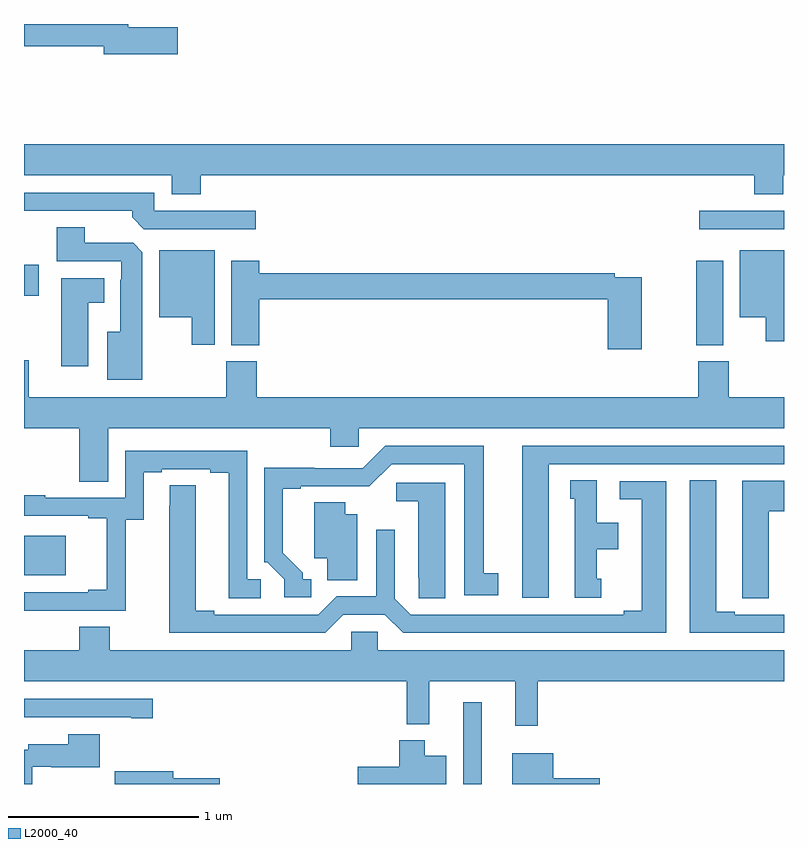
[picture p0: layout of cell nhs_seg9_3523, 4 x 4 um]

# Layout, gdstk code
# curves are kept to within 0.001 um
import gdstk
lib = gdstk.Library(unit=1e-6, precision=1e-09)
def R(c, l, rs):  # rectangles x0, y0, x1, y1
    for r in rs: c.add(gdstk.rectangle(r[:2], r[2:], *l))
def P(c, l, *ps):  # polygons
    for p in ps: c.add(gdstk.Polygon(p, *l))
L2000_40 = (2000, 40)

nhs_seg9_3523 = lib.new_cell('nhs_seg9_3523')
R(nhs_seg9_3523, L2000_40, [(313.311,1242.5,313.408,1242.931), (311,1243.598,311.221,1243.807), (314.539,1244.809,314.68,1245.253), (311,1245.07,311.077,1245.232), (314.553,1245.42,315,1245.516)])
P(nhs_seg9_3523, L2000_40, [(311.809,1246.484),(311.548,1246.484),(311.548,1246.5),(311,1246.5),(311,1246.384),(311.42,1246.384),(311.42,1246.342),(311.809,1246.342)],
  [(311.93,1245.704),(314.843,1245.704),(314.843,1245.605),(314.995,1245.605),(314.995,1245.704),(315,1245.704),(315,1245.868),(311,1245.868),(311,1245.704),(311.777,1245.704),(311.777,1245.605),(311.93,1245.605)],
  [(312.22,1245.516),(311.685,1245.516),(311.685,1245.612),(311,1245.612),(311,1245.516),(311.57,1245.516),(311.57,1245.482),(311.631,1245.42),(312.22,1245.42)],
  [(311.623,1245.299),(311.574,1245.348),(311.32,1245.348),(311.32,1245.431),(311.173,1245.431),(311.173,1245.252),(311.511,1245.252),(311.511,1245.155),(311.507,1245.155),(311.507,1244.881),(311.438,1244.881),(311.438,1244.627),(311.623,1244.627)],
  [(312.004,1245.31),(311.711,1245.31),(311.711,1244.957),(311.882,1244.957),(311.882,1244.811),(312.004,1244.811)],
  [(315,1245.31),(314.768,1245.31),(314.768,1244.957),(314.903,1244.957),(314.903,1244.829),(315,1244.829)],
  [(314.25,1245.168),(314.108,1245.168),(314.108,1245.188),(312.239,1245.188),(312.239,1245.253),(312.092,1245.253),(312.092,1244.809),(312.239,1244.809),(312.239,1245.052),(314.072,1245.052),(314.072,1244.787),(314.25,1244.787)],
  [(311.338,1245.032),(311.422,1245.032),(311.422,1245.163),(311.195,1245.163),(311.195,1244.7),(311.338,1244.7)],
  [(311.443,1244.372),(312.611,1244.372),(312.611,1244.274),(312.762,1244.274),(312.762,1244.372),(315,1244.372),(315,1244.536),(314.709,1244.536),(314.709,1244.724),(314.549,1244.724),(314.549,1244.536),(312.224,1244.536),(312.224,1244.724),(312.064,1244.724),(312.064,1244.536),(311.026,1244.536),(311.026,1244.731),(311,1244.731),(311,1244.372),(311.291,1244.372),(311.291,1244.092),(311.443,1244.092)],
  [(313.762,1244.184),(315,1244.184),(315,1244.28),(313.622,1244.28),(313.622,1243.479),(313.762,1243.479)],
  [(312.511,1243.578),(312.466,1243.578),(312.466,1243.613),(312.361,1243.718),(312.361,1244.055),(312.457,1244.055),(312.457,1244.067),(312.818,1244.066),(312.936,1244.184),(313.316,1244.184),(313.316,1243.494),(313.495,1243.494),(313.495,1243.61),(313.42,1243.61),(313.42,1244.28),(312.9,1244.28),(312.783,1244.163),(312.527,1244.163),(312.527,1244.165),(312.264,1244.165),(312.264,1243.668),(312.279,1243.668),(312.369,1243.578),(312.369,1243.482),(312.511,1243.482)],
  [(311.535,1243.891),(311.629,1243.891),(311.629,1244.142),(311.725,1244.142),(311.725,1244.157),(311.981,1244.157),(311.981,1244.137),(312.077,1244.137),(312.077,1243.477),(312.247,1243.477),(312.247,1243.578),(312.174,1243.578),(312.174,1244.253),(311.532,1244.253),(311.532,1244.007),(311.113,1244.007),(311.113,1244.02),(311.001,1244.02),(311.001,1243.911),(311.339,1243.911),(311.339,1243.899),(311.435,1243.899),(311.435,1243.522),(311.339,1243.522),(311.339,1243.509),(311.001,1243.509),(311.001,1243.413),(311.535,1243.413)],
  [(314.038,1243.581),(314.014,1243.581),(314.014,1243.736),(314.128,1243.736),(314.128,1243.876),(314.014,1243.876),(314.014,1244.099),(313.874,1244.099),(313.874,1244.001),(313.898,1244.001),(313.898,1243.479),(314.038,1243.479)],
  [(315,1243.392),(314.74,1243.392),(314.74,1243.407),(314.644,1243.407),(314.644,1244.099),(314.504,1244.099),(314.504,1243.296),(315,1243.296)],
  [(314.92,1243.936),(315,1243.936),(315,1244.095),(314.78,1244.095),(314.78,1243.585),(314.781,1243.585),(314.781,1243.477),(314.92,1243.477)],
  [(312.681,1243.392),(312.899,1243.392),(312.995,1243.296),(314.38,1243.296),(314.38,1244.094),(314.136,1244.094),(314.136,1243.998),(314.252,1243.998),(314.252,1243.412),(314.156,1243.412),(314.156,1243.392),(313.035,1243.392),(312.951,1243.476),(312.951,1243.837),(312.855,1243.837),(312.855,1243.488),(312.645,1243.488),(312.549,1243.392),(312.001,1243.392),(312.001,1243.412),(311.905,1243.412),(311.905,1244.072),(311.766,1244.072),(311.765,1243.296),(312.585,1243.296)],
  [(313.216,1244.085),(312.96,1244.085),(312.96,1243.988),(313.076,1243.988),(313.076,1243.585),(313.077,1243.585),(313.077,1243.477),(313.216,1243.477)],
  [(312.754,1243.921),(312.691,1243.921),(312.691,1243.982),(312.527,1243.982),(312.527,1243.688),(312.596,1243.688),(312.596,1243.573),(312.754,1243.573)],
  [(313.703,1243.04),(315,1243.04),(315,1243.204),(312.861,1243.204),(312.861,1243.302),(312.723,1243.302),(312.723,1243.204),(311.451,1243.204),(311.451,1243.328),(311.291,1243.328),(311.291,1243.204),(311,1243.204),(311,1243.04),(313.015,1243.04),(313.015,1242.815),(313.133,1242.815),(313.133,1243.04),(313.586,1243.04),(313.586,1242.807),(313.703,1242.807)],
  [(311.677,1242.948),(311,1242.948),(311,1242.852),(311.564,1242.852),(311.564,1242.847),(311.677,1242.847)],
  [(311.043,1242.591),(311.143,1242.591),(311.143,1242.587),(311.398,1242.587),(311.398,1242.763),(311.234,1242.763),(311.234,1242.709),(311.022,1242.709),(311.022,1242.681),(311,1242.681),(311,1242.5),(311.043,1242.5)],
  [(313.222,1242.649),(313.108,1242.649),(313.108,1242.73),(312.974,1242.73),(312.974,1242.591),(312.756,1242.591),(312.756,1242.5),(313.222,1242.5)],
  [(314.029,1242.53),(313.786,1242.53),(313.786,1242.661),(313.571,1242.661),(313.571,1242.5),(314.029,1242.5)],
  [(312.031,1242.53),(311.785,1242.53),(311.785,1242.568),(311.478,1242.568),(311.478,1242.5),(312.031,1242.5)])

lib.write_gds('nhs_seg9_3523.gds')
